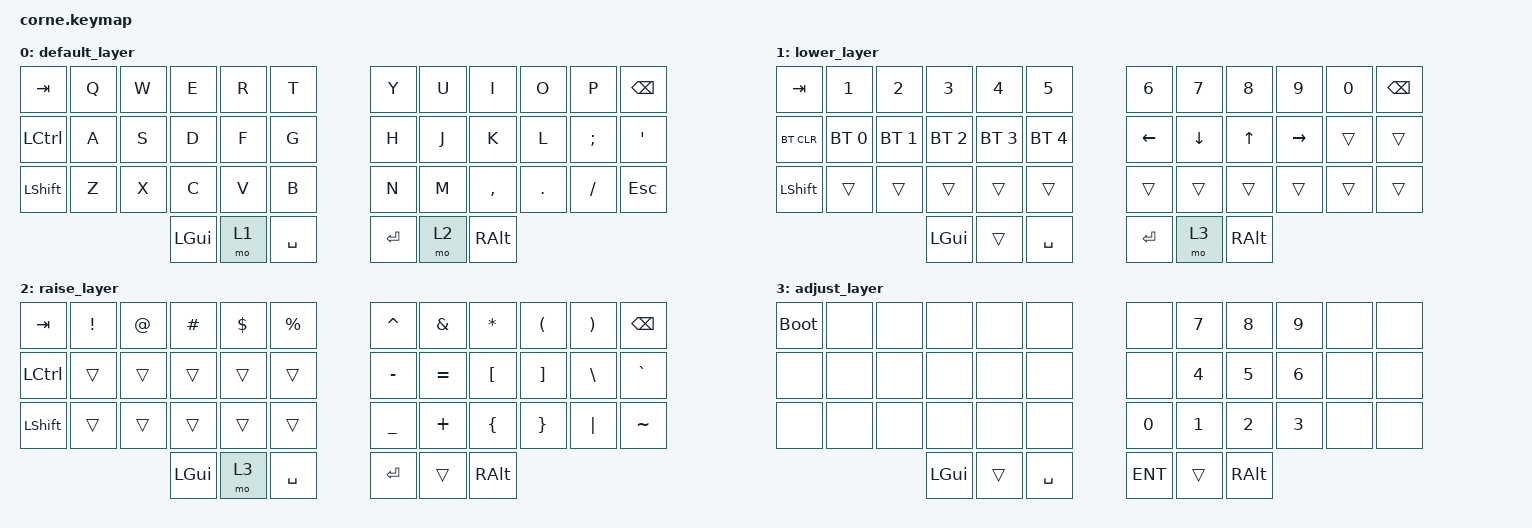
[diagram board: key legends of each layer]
/*
 * Copyright (c) 2020 The ZMK Contributors
 *
 * SPDX-License-Identifier: MIT
 */

#include <behaviors.dtsi>
#include <dt-bindings/zmk/keys.h>
#include <dt-bindings/zmk/bt.h>

/ {
    keymap {
        compatible = "zmk,keymap";

        default_layer {
// -----------------------------------------------------------------------------------------
// |  TAB |  Q  |  W  |  E  |  R  |  T  |   |  Y  |  U   |  I  |  O  |  P  | BSPC |
// | CTRL |  A  |  S  |  D  |  F  |  G  |   |  H  |  J   |  K  |  L  |  ;  |  '   |
// | SHFT |  Z  |  X  |  C  |  V  |  B  |   |  N  |  M   |  ,  |  .  |  /  | ESC  |
//                    | GUI | LWR | SPC |   | ENT | RSE  | ALT |
            bindings = <
                &kp TAB   &kp Q &kp W &kp E &kp R &kp T   &kp Y &kp U  &kp I     &kp O   &kp P    &kp BSPC
                &kp LCTRL &kp A &kp S &kp D &kp F &kp G   &kp H &kp J  &kp K     &kp L   &kp SEMI &kp SQT
                &kp LSHFT &kp Z &kp X &kp C &kp V &kp B   &kp N &kp M  &kp COMMA &kp DOT &kp FSLH &kp ESC
                          &kp LGUI &mo 1 &kp SPACE   &kp RET &mo 2 &kp RALT
            >;
        };

        lower_layer {
// -----------------------------------------------------------------------------------------
// |  TAB |  1  |  2  |  3  |  4  |  5  |   |  6  |  7  |  8  |  9  |  0  | BSPC |
// | BTCLR| BT1 | BT2 | BT3 | BT4 | BT5 |   | LFT | DWN |  UP | RGT |     |      |
// | SHFT |     |     |     |     |     |   |     |     |     |     |     |      |
//                    | GUI |     | SPC |   | ENT |     | ALT |
            bindings = <
                &kp TAB    &kp N1       &kp N2       &kp N3       &kp N4       &kp N5         &kp N6   &kp N7   &kp N8 &kp N9    &kp N0 &kp BSPC
                &bt BT_CLR &bt BT_SEL 0 &bt BT_SEL 1 &bt BT_SEL 2 &bt BT_SEL 3 &bt BT_SEL 4   &kp LEFT &kp DOWN &kp UP &kp RIGHT &trans &trans
                &kp LSHFT  &trans       &trans       &trans       &trans       &trans         &trans   &trans   &trans &trans    &trans &trans
                                      &kp LGUI     &trans       &kp SPACE      &kp RET  &mo 3   &kp RALT
            >;
        };

        raise_layer {
// -----------------------------------------------------------------------------------------
// |  TAB |  !  |  @  |  #  |  $  |  %  |   |  ^  |  &  |  *  |  (  |  )  | BSPC |
// | CTRL |     |     |     |     |     |   |  -  |  =  |  [  |  ]  |  \  |  `   |
// | SHFT |     |     |     |     |     |   |  _  |  +  |  {  |  }  | "|" |  ~   |
//                    | GUI |     | SPC |   | ENT |     | ALT |
            bindings = <
                &kp  TAB  &kp EXCL &kp AT &kp HASH &kp DLLR &kp PRCNT   &kp CARET &kp AMPS  &kp ASTRK &kp LPAR &kp RPAR &kp BSPC
                &kp LCTRL &trans   &trans &trans   &trans   &trans      &kp MINUS &kp EQUAL &kp LBKT  &kp RBKT &kp BSLH &kp GRAVE
                &kp LSHFT &trans   &trans &trans   &trans   &trans      &kp UNDER &kp PLUS  &kp LBRC  &kp RBRC &kp PIPE &kp TILDE
                                 &kp LGUI &mo 3   &kp SPACE   &kp RET   &trans    &kp RALT
            >;
        };

        adjust_layer {
// -----------------------------------------------------------------------------------------
// |  BL  |     |     |     |     |     |   |     |  7  |  8  |  9  |     |     |
// |      |     |     |     |     |     |   |     |  4  |  5  |  6  |     |     |
// |      |     |     |     |     |     |   |  0  |  1  |  2  |  3  |     |     |
//                    | GUI |     | SPC |   | ENT |     | ALT |
            bindings = <
                &bootloader &none &none &none &none &none &none &kp 7 &kp 8 &kp 9 &none &none
                &none       &none &none &none &none &none &none &kp 4 &kp 5 &kp 6 &none &none
                &none       &none &none &none &none &none &kp 0 &kp 1 &kp 2 &kp 3 &none &none
                &kp LGUI    &trans &kp SPC &kp ENT &trans &kp RALT
            >;
        };
    };
};
